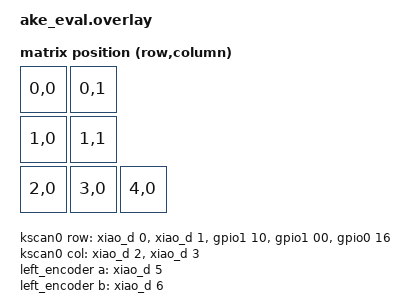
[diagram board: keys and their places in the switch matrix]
#include <dt-bindings/zmk/matrix_transform.h>

/ {
    chosen {
        zmk,kscan = &kscan0;
        zmk,matrix_transform = &default_transform;
    };

    kscan0: kscan_0 {
        compatible = "zmk,kscan-gpio-matrix";
        label = "KSCAN";
        diode-direction = "col2row";

        col-gpios
            = <&xiao_d 2 GPIO_ACTIVE_HIGH>
            , <&xiao_d 3 GPIO_ACTIVE_HIGH>
            ;

        row-gpios
            = <&xiao_d 0 (GPIO_ACTIVE_HIGH | GPIO_PULL_DOWN)>
            , <&xiao_d 1 (GPIO_ACTIVE_HIGH | GPIO_PULL_DOWN)>
            , <&gpio1 10 (GPIO_ACTIVE_HIGH | GPIO_PULL_DOWN)>
            , <&gpio1 00 (GPIO_ACTIVE_HIGH | GPIO_PULL_DOWN)>
            , <&gpio0 16 (GPIO_ACTIVE_HIGH | GPIO_PULL_DOWN)>
            ;
    };


    default_transform: matrix_transform {
        compatible = "zmk,matrix-transform";
        rows = <5>;
        columns = <2>;
        map = <
            RC(0,0) RC(0,1)
            RC(1,0) RC(1,1) 
            RC(2,0) RC(3,0) RC(4,0)
        >;
    };

    left_encoder: encoder_left {
        compatible = "alps,ec11";
        a-gpios = <&xiao_d 5 (GPIO_ACTIVE_HIGH | GPIO_PULL_UP)>;
        b-gpios = <&xiao_d 6 (GPIO_ACTIVE_HIGH | GPIO_PULL_UP)>;
        steps = <80>;
        status = "okay";
    };

    sensors: sensors {
        compatible = "zmk,keymap-sensors";
        sensors = <&left_encoder>;
        triggers-per-rotation = <20>;
    };
};
